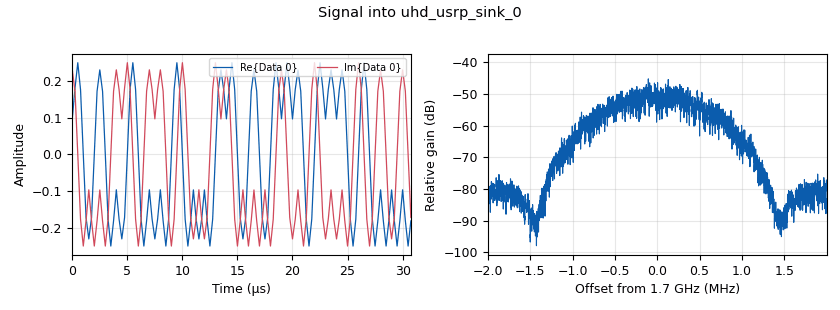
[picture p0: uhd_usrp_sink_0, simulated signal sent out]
<?xml version='1.0' encoding='utf-8'?>
<flow_graph>
<block>
<key>options</key>
<param><key>id</key><value>top_block</value></param>
<param><key>generate_options</key><value>wx_gui</value></param>
<param><key>category</key><value>Custom</value></param>
</block>
<block>
<key>variable</key>
<param><key>id</key><value>taps</value></param>
<param><key>_enabled</key><value>False</value></param>
<param><key>value</key><value>[1.0, 0.25-0.25j, 0.50 + 0.10j, -0.3 + 0.2j, 0.1 - 0.01j, -0.2 + 0.2j]</value></param>
</block>
<block>
<key>variable</key>
<param><key>id</key><value>rrc_taps</value></param>
<param><key>value</key><value>firdes.root_raised_cosine(nfilts, nfilts, 1.0/float(sps), 0.35, 11*sps*nfilts)</value></param>
</block>
<block>
<key>variable</key>
<param><key>id</key><value>arity</value></param>
<param><key>value</key><value>2</value></param>
</block>
<block>
<key>variable</key>
<param><key>id</key><value>nfilts</value></param>
<param><key>value</key><value>32</value></param>
</block>
<block>
<key>variable</key>
<param><key>id</key><value>taps</value></param>
<param><key>value</key><value>[1.0 + 0.0j, ]</value></param>
</block>
<block>
<key>variable</key>
<param><key>id</key><value>sps</value></param>
<param><key>value</key><value>4</value></param>
</block>
<block>
<key>variable_slider</key>
<param><key>id</key><value>temp_slider</value></param>
<param><key>label</key><value></value></param>
<param><key>value</key><value>50</value></param>
<param><key>min</key><value>0</value></param>
<param><key>max</key><value>100</value></param>
<param><key>num_steps</key><value>100</value></param>
<param><key>style</key><value>wx.SL_HORIZONTAL</value></param>
<param><key>converver</key><value>float_converter</value></param>
</block>
<block>
<key>digital_ofdm_mod</key>
<param><key>id</key><value>digital_ofdm_mod_0</value></param>
<param><key>_enabled</key><value>False</value></param>
<param><key>type</key><value>byte</value></param>
<param><key>modulation</key><value>bpsk</value></param>
<param><key>fft_length</key><value>512</value></param>
<param><key>occupied_tones</key><value>200</value></param>
<param><key>cp_length</key><value>128</value></param>
<param><key>pad_for_usrp</key><value>True</value></param>
<param><key>payload_length</key><value>0</value></param>
</block>
<block>
<key>digital_dxpsk_mod</key>
<param><key>id</key><value>digital_dxpsk_mod_0</value></param>
<param><key>_enabled</key><value>False</value></param>
<param><key>type</key><value>dqpsk</value></param>
<param><key>samples_per_symbol</key><value>4</value></param>
<param><key>excess_bw</key><value>0.35</value></param>
<param><key>mod_code</key><value>"gray"</value></param>
<param><key>verbose</key><value>False</value></param>
<param><key>log</key><value>False</value></param>
</block>
<block>
<key>import</key>
<param><key>id</key><value>import_math</value></param>
<param><key>import</key><value>import math</value></param>
</block>
<block>
<key>digital_gfsk_mod</key>
<param><key>id</key><value>digital_gfsk_mod_0</value></param>
<param><key>_enabled</key><value>False</value></param>
<param><key>samples_per_symbol</key><value>4</value></param>
<param><key>sensitivity</key><value>1.0</value></param>
<param><key>bt</key><value>0.35</value></param>
</block>
<block>
<key>notebook</key>
<param><key>id</key><value>nb</value></param>
<param><key>style</key><value>wx.NB_TOP</value></param>
<param><key>labels</key><value>['tab1', 'tab2', 'tab3']</value></param>
</block>
<block>
<key>blocks_multiply_const_vxx</key>
<param><key>id</key><value>blocks_multiply_const_vxx_0</value></param>
<param><key>type</key><value>complex</value></param>
<param><key>const</key><value>0.250</value></param>
</block>
<block>
<key>uhd_usrp_sink</key>
<param><key>id</key><value>uhd_usrp_sink_0</value></param>
<param><key>type</key><value>fc32</value></param>
<param><key>dev_addr</key><value>addr=192.168.10.2</value></param>
<param><key>sync</key><value></value></param>
<param><key>clock_rate</key><value>0.0</value></param>
<param><key>clock_source0</key><value>internal</value></param>
<param><key>samp_rate</key><value>4000000</value></param>
<param><key>center_freq0</key><value>1700e6</value></param>
<param><key>gain0</key><value>10.5</value></param>
<param><key>ant0</key><value></value></param>
</block>
<block>
<key>wxgui_scopesink2</key>
<param><key>id</key><value>wxgui_scopesink2_0</value></param>
<param><key>_enabled</key><value>False</value></param>
<param><key>type</key><value>complex</value></param>
<param><key>title</key><value>Scope Plot</value></param>
<param><key>samp_rate</key><value>4000000</value></param>
<param><key>v_scale</key><value>0</value></param>
<param><key>v_offset</key><value>0</value></param>
<param><key>t_scale</key><value>0</value></param>
<param><key>ac_couple</key><value>False</value></param>
<param><key>xy_mode</key><value>False</value></param>
<param><key>num_inputs</key><value>1</value></param>
<param><key>trig_mode</key><value>wxgui.TRIG_MODE_AUTO</value></param>
<param><key>y_axis_label</key><value>Counts</value></param>
</block>
<block>
<key>analog_random_source_x</key>
<param><key>id</key><value>analog_random_source_x_0</value></param>
<param><key>type</key><value>byte</value></param>
<param><key>min</key><value>0</value></param>
<param><key>max</key><value>256</value></param>
<param><key>num_samps</key><value>2500000</value></param>
<param><key>repeat</key><value>True</value></param>
</block>
<block>
<key>blocks_file_sink</key>
<param><key>id</key><value>blocks_file_sink_1</value></param>
<param><key>_enabled</key><value>False</value></param>
<param><key>file</key><value>/home/ee764/ankit/0203/data/indata1</value></param>
<param><key>type</key><value>byte</value></param>
</block>
<block>
<key>digital_qam_mod</key>
<param><key>id</key><value>digital_qam_mod_0</value></param>
<param><key>_enabled</key><value>False</value></param>
<param><key>constellation_points</key><value>4</value></param>
<param><key>mod_code</key><value>"gray"</value></param>
<param><key>differential</key><value>False</value></param>
<param><key>samples_per_symbol</key><value>4</value></param>
<param><key>excess_bw</key><value>0.35</value></param>
</block>
<block>
<key>digital_psk_mod</key>
<param><key>id</key><value>digital_psk_mod_0</value></param>
<param><key>_enabled</key><value>False</value></param>
<param><key>constellation_points</key><value>4</value></param>
<param><key>mod_code</key><value>"gray"</value></param>
<param><key>differential</key><value>False</value></param>
<param><key>samples_per_symbol</key><value>4</value></param>
<param><key>excess_bw</key><value>0.35</value></param>
</block>
<block>
<key>digital_gmsk_mod</key>
<param><key>id</key><value>digital_gmsk_mod_0</value></param>
<param><key>samples_per_symbol</key><value>2</value></param>
<param><key>bt</key><value>0.35</value></param>
</block>
<connection><source_block_id>digital_psk_mod_0</source_block_id><sink_block_id>blocks_multiply_const_vxx_0</sink_block_id><source_key>0</source_key><sink_key>0</sink_key></connection>
<connection><source_block_id>digital_qam_mod_0</source_block_id><sink_block_id>blocks_multiply_const_vxx_0</sink_block_id><source_key>0</source_key><sink_key>0</sink_key></connection>
<connection><source_block_id>digital_gmsk_mod_0</source_block_id><sink_block_id>blocks_multiply_const_vxx_0</sink_block_id><source_key>0</source_key><sink_key>0</sink_key></connection>
<connection><source_block_id>digital_dxpsk_mod_0</source_block_id><sink_block_id>blocks_multiply_const_vxx_0</sink_block_id><source_key>0</source_key><sink_key>0</sink_key></connection>
<connection><source_block_id>analog_random_source_x_0</source_block_id><sink_block_id>digital_ofdm_mod_0</sink_block_id><source_key>0</source_key><sink_key>0</sink_key></connection>
<connection><source_block_id>digital_gfsk_mod_0</source_block_id><sink_block_id>blocks_multiply_const_vxx_0</sink_block_id><source_key>0</source_key><sink_key>0</sink_key></connection>
<connection><source_block_id>analog_random_source_x_0</source_block_id><sink_block_id>digital_gfsk_mod_0</sink_block_id><source_key>0</source_key><sink_key>0</sink_key></connection>
<connection><source_block_id>digital_ofdm_mod_0</source_block_id><sink_block_id>blocks_multiply_const_vxx_0</sink_block_id><source_key>0</source_key><sink_key>0</sink_key></connection>
<connection><source_block_id>analog_random_source_x_0</source_block_id><sink_block_id>digital_gmsk_mod_0</sink_block_id><source_key>0</source_key><sink_key>0</sink_key></connection>
<connection><source_block_id>analog_random_source_x_0</source_block_id><sink_block_id>digital_psk_mod_0</sink_block_id><source_key>0</source_key><sink_key>0</sink_key></connection>
<connection><source_block_id>analog_random_source_x_0</source_block_id><sink_block_id>digital_dxpsk_mod_0</sink_block_id><source_key>0</source_key><sink_key>0</sink_key></connection>
<connection><source_block_id>analog_random_source_x_0</source_block_id><sink_block_id>digital_qam_mod_0</sink_block_id><source_key>0</source_key><sink_key>0</sink_key></connection>
<connection><source_block_id>analog_random_source_x_0</source_block_id><sink_block_id>blocks_file_sink_1</sink_block_id><source_key>0</source_key><sink_key>0</sink_key></connection>
<connection><source_block_id>blocks_multiply_const_vxx_0</source_block_id><sink_block_id>uhd_usrp_sink_0</sink_block_id><source_key>0</source_key><sink_key>0</sink_key></connection>
<connection><source_block_id>blocks_multiply_const_vxx_0</source_block_id><sink_block_id>wxgui_scopesink2_0</sink_block_id><source_key>0</source_key><sink_key>0</sink_key></connection>
</flow_graph>
